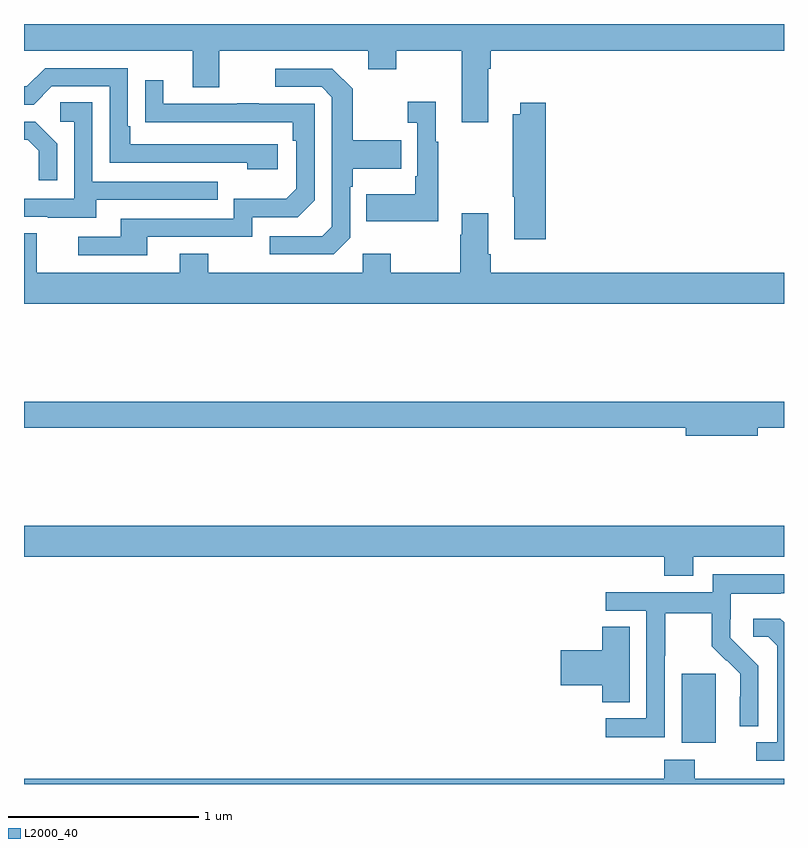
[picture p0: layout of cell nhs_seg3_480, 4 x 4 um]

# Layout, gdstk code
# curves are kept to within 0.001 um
import gdstk
lib = gdstk.Library(unit=1e-6, precision=1e-09)
def R(c, l, rs):  # rectangles x0, y0, x1, y1
    for r in rs: c.add(gdstk.rectangle(r[:2], r[2:], *l))
def P(c, l, *ps):  # polygons
    for p in ps: c.add(gdstk.Polygon(p, *l))
L2000_40 = (2000, 40)

nhs_seg3_480 = lib.new_cell('nhs_seg3_480')
R(nhs_seg3_480, L2000_40, [(138.461,686.618,138.64,686.979)])
P(nhs_seg3_480, L2000_40, [(137.443,690.164),(137.456,690.164),(137.456,690.26),(139,690.26),(139,690.4),(135,690.4),(135,690.26),(135.887,690.26),(135.887,690.066),(136.027,690.066),(136.027,690.26),(136.811,690.26),(136.811,690.161),(136.959,690.161),(136.959,690.26),(137.303,690.26),(137.303,689.883),(137.443,689.883)],
  [(136.336,689.766),(135.559,689.766),(135.559,689.863),(135.546,689.863),(135.546,690.168),(135.111,690.168),(135.015,690.072),(135,690.072),(135,689.976),(135.051,689.976),(135.147,690.072),(135.45,690.072),(135.45,689.67),(136.175,689.67),(136.175,689.636),(136.336,689.636)],
  [(136.716,689.274),(136.716,689.543),(136.729,689.543),(136.729,689.639),(136.985,689.639),(136.985,689.787),(136.729,689.787),(136.729,690.059),(136.623,690.165),(136.323,690.165),(136.323,690.069),(136.566,690.069),(136.62,690.015),(136.62,689.334),(136.569,689.283),(136.293,689.283),(136.293,689.187),(136.629,689.187)],
  [(135.649,689.28),(136.2,689.28),(136.2,689.382),(136.44,689.382),(136.53,689.472),(136.53,689.979),(136.235,689.979),(136.235,689.984),(136.123,689.984),(136.123,689.979),(135.733,689.979),(135.733,690.103),(135.637,690.103),(135.637,689.884),(136.414,689.883),(136.414,689.786),(136.434,689.786),(136.434,689.532),(136.381,689.479),(136.104,689.479),(136.104,689.376),(135.509,689.376),(135.509,689.28),(135.285,689.28),(135.285,689.184),(135.649,689.184)],
  [(137.179,689.779),(137.167,689.779),(137.167,689.992),(137.019,689.992),(137.019,689.879),(137.07,689.879),(137.07,689.599),(137.058,689.599),(137.058,689.503),(136.801,689.503),(136.801,689.363),(137.179,689.363)],
  [(135.379,689.475),(136.019,689.475),(136.019,689.571),(135.36,689.571),(135.36,689.987),(135.192,689.987),(135.192,689.886),(135.264,689.886),(135.264,689.481),(135,689.481),(135,689.385),(135.125,689.385),(135.125,689.381),(135.379,689.381)],
  [(137.747,689.986),(137.612,689.986),(137.612,689.926),(137.572,689.926),(137.572,689.491),(137.579,689.491),(137.579,689.268),(137.747,689.268)],
  [(135.174,689.77),(135.058,689.886),(135,689.886),(135,689.79),(135.02,689.79),(135.077,689.733),(135.077,689.577),(135.174,689.577)],
  [(139,689.092),(137.456,689.092),(137.456,689.188),(137.443,689.188),(137.443,689.404),(137.303,689.404),(137.303,689.291),(137.296,689.291),(137.296,689.092),(136.929,689.092),(136.929,689.191),(136.782,689.191),(136.782,689.092),(135.969,689.092),(135.969,689.191),(135.821,689.191),(135.821,689.092),(135.067,689.092),(135.067,689.3),(135,689.3),(135,688.928),(139,688.928)],
  [(138.862,688.276),(139,688.276),(139,688.412),(135,688.412),(135,688.276),(138.482,688.276),(138.482,688.234),(138.862,688.234)],
  [(138.523,687.596),(139,687.596),(139,687.76),(135,687.76),(135,687.596),(138.371,687.596),(138.371,687.497),(138.523,687.497)],
  [(138.372,687.076),(138.375,687.076),(138.375,687.3),(138.619,687.3),(138.619,687.125),(138.696,687.048),(138.699,687.051),(138.77,686.981),(138.77,686.858),(138.768,686.858),(138.768,686.704),(138.864,686.704),(138.864,687.022),(138.718,687.17),(138.718,687.267),(138.72,687.267),(138.72,687.401),(138.983,687.401),(138.983,687.405),(139,687.405),(139,687.505),(138.624,687.505),(138.624,687.408),(138.063,687.408),(138.063,687.312),(138.276,687.312),(138.276,686.745),(138.063,686.745),(138.063,686.647),(138.372,686.647)],
  [(139,687.251),(138.98,687.271),(138.837,687.271),(138.837,687.174),(138.918,687.174),(138.965,687.127),(138.965,686.619),(138.855,686.619),(138.855,686.523),(139,686.523)],
  [(138.187,687.227),(138.044,687.227),(138.044,687.104),(137.826,687.104),(137.826,686.921),(138.044,686.921),(138.044,686.83),(138.187,686.83)],
  [(135,686.4),(139,686.4),(139,686.428),(138.531,686.428),(138.531,686.527),(138.371,686.527),(138.371,686.428),(135,686.428)])

lib.write_gds('nhs_seg3_480.gds')
